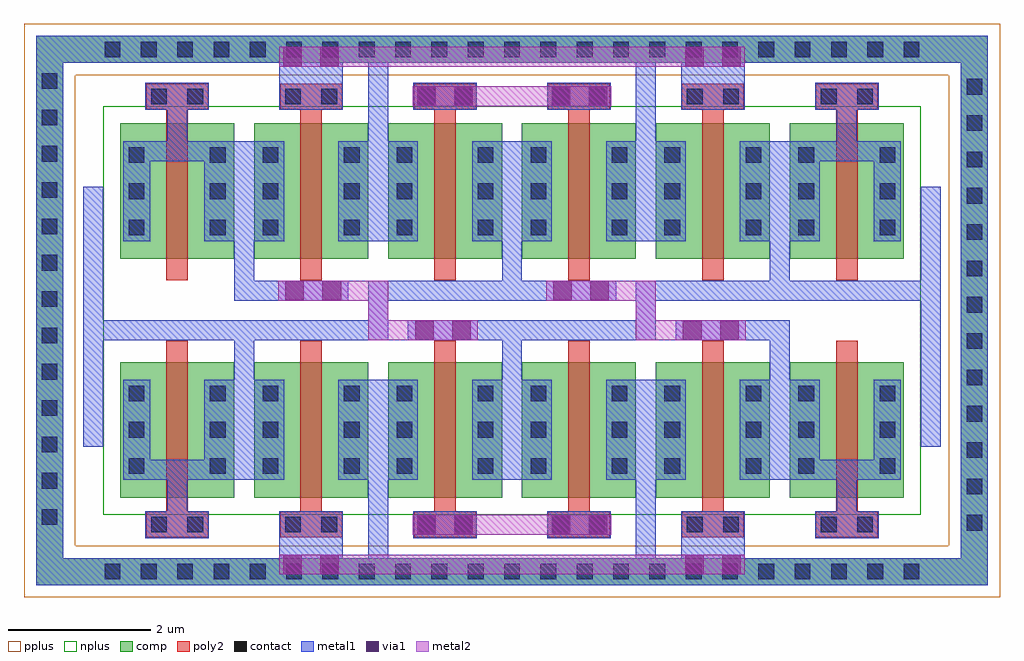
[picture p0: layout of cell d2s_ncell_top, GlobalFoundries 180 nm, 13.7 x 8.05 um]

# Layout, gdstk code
import gdstk
lib = gdstk.Library(unit=1e-6, precision=5e-09)
def R(c, l, rs):  # rectangles x0, y0, x1, y1
    for r in rs: c.add(gdstk.rectangle(r[:2], r[2:], *l))
def A(c, l, x, y, w, h, nx, ny, dx, dy):  # array of equal rectangles
    R(c, l, [(x+i*dx, y+j*dy, x+i*dx+w, y+j*dy+h) for i in range(nx) for j in range(ny)])
comp = (22, 0)
poly2 = (30, 0)
pplus = (31, 0)
nplus = (32, 0)
contact = (33, 0)
metal1 = (34, 0)
via1 = (35, 0)
metal2 = (36, 0)

d2s_ncell_1_1 = lib.new_cell('d2s_ncell_1$1')
R(d2s_ncell_1_1, comp, [(0,0.3,0.46,2.2), (0.46,0.3,1.14,2.2), (1.14,0.3,1.6,2.2)])
R(d2s_ncell_1_1, poly2, [(0.65,0,0.95,2.5)])
A(d2s_ncell_1_1, contact, 0.12, 0.63, 0.22, 0.22, 1, 3, 0, 0.51)
A(d2s_ncell_1_1, contact, 1.26, 0.63, 0.22, 0.22, 1, 3, 0, 0.51)
R(d2s_ncell_1_1, metal1, [(0.04,0.55,0.42,1.95), (1.18,0.55,1.56,1.95)])

d2s_ncell_4 = lib.new_cell('d2s_ncell_4')
A(d2s_ncell_4, poly2, 0.365, 2.4, 0.87, 0.36, 6, 1, 1.88, 0)
R(d2s_ncell_4, contact, [(0.435,2.47,0.655,2.69), (0.945,2.47,1.165,2.69), (2.315,2.47,2.535,2.69), (2.825,2.47,3.045,2.69), (4.195,2.47,4.415,2.69), (4.705,2.47,4.925,2.69), (6.075,2.47,6.295,2.69), (6.585,2.47,6.805,2.69), (7.955,2.47,8.175,2.69), (8.465,2.47,8.685,2.69), (9.835,2.47,10.055,2.69), (10.345,2.47,10.565,2.69)])
A(d2s_ncell_4, metal1, 1.56, 0.55, 0.36, 1.4, 5, 1, 1.88, 0)
R(d2s_ncell_4, metal1, [(0.355,2.39,1.245,2.77), (2.235,2.39,3.125,3.28), (4.115,2.39,5.005,2.77), (5.995,2.39,6.885,2.77), (7.875,2.39,8.765,3.28), (9.755,2.39,10.645,2.77)])
R(d2s_ncell_4, via1, [(4.17,2.45,4.43,2.71), (4.69,2.45,4.95,2.71), (6.055,2.45,6.315,2.71), (6.575,2.45,6.835,2.71), (2.29,3.01,2.55,3.27), (2.81,3.01,3.07,3.27), (7.93,3.01,8.19,3.27), (8.45,3.01,8.71,3.27)])
d2s_ncell_4.add(gdstk.FlexPath([(9.82,1.81),(10.58,1.81)], 0.28, ends="flush", simple_path=True, layer=34, datatype=0))  # metal1
d2s_ncell_4.add(gdstk.FlexPath([(10.2,2.39),(10.2,1.95)], 0.28, ends="flush", simple_path=True, layer=34, datatype=0))  # metal1
d2s_ncell_4.add(gdstk.FlexPath([(0.8,2.39),(0.8,1.95)], 0.28, ends="flush", simple_path=True, layer=34, datatype=0))  # metal1
d2s_ncell_4.add(gdstk.FlexPath([(0.42,1.81),(1.18,1.81)], 0.28, ends="flush", simple_path=True, layer=34, datatype=0))  # metal1
d2s_ncell_4.add(gdstk.FlexPath([(6.89,2.58),(4.11,2.58)], 0.28, ends="flush", simple_path=True, layer=36, datatype=0))  # metal2
d2s_ncell_4.add(gdstk.FlexPath([(8.77,3.14),(2.23,3.14)], 0.28, ends="flush", simple_path=True, layer=36, datatype=0))  # metal2
d2s_ncell_4.add(gdstk.Reference(d2s_ncell_1_1, (0,0)))
d2s_ncell_4.add(gdstk.Reference(d2s_ncell_1_1, (1.88,0)))
d2s_ncell_4.add(gdstk.Reference(d2s_ncell_1_1, (3.76,0)))
d2s_ncell_4.add(gdstk.Reference(d2s_ncell_1_1, (5.64,0)))
d2s_ncell_4.add(gdstk.Reference(d2s_ncell_1_1, (7.52,0)))
d2s_ncell_4.add(gdstk.Reference(d2s_ncell_1_1, (9.4,0)))

d2s_ncell_top = lib.new_cell('d2s_ncell_top')
R(d2s_ncell_top, nplus, [(5.66,3.735,17.14,9.465)])
A(d2s_ncell_top, contact, 5.68, 2.825, 0.22, 0.22, 23, 2, 0.51, 7.33)
A(d2s_ncell_top, contact, 17.78, 3.51, 0.22, 0.22, 1, 13, 0, 0.51)
A(d2s_ncell_top, contact, 4.8, 3.59, 0.22, 0.22, 1, 13, 0, 0.51)
R(d2s_ncell_top, via1, [(10.04,6.19,10.3,6.45), (10.56,6.19,10.82,6.45), (13.8,6.19,14.06,6.45), (14.32,6.19,14.58,6.45), (8.22,6.75,8.48,7.01), (8.74,6.75,9,7.01), (11.98,6.75,12.24,7.01), (12.5,6.75,12.76,7.01)])
d2s_ncell_top.add(gdstk.FlexPath([(17.89,10.455),(17.89,2.935),(4.91,2.935),(4.91,10.265),(18.08,10.265)], 0.38, ends="flush", simple_path=True, layer=34, datatype=0))  # metal1
d2s_ncell_top.add(gdstk.FlexPath([(15.16,7.575),(15.16,7.02)], 0.28, ends="flush", simple_path=True, layer=34, datatype=0))  # metal1
d2s_ncell_top.add(gdstk.FlexPath([(11.4,7.575),(11.4,7.02)], 0.28, ends="flush", simple_path=True, layer=34, datatype=0))  # metal1
d2s_ncell_top.add(gdstk.FlexPath([(7.64,7.575),(7.64,7.02)], 0.28, ends="flush", simple_path=True, layer=34, datatype=0))  # metal1
d2s_ncell_top.add(gdstk.FlexPath([(10.92,6.88),(9.52,6.88),(9.52,6.32),(8.12,6.32)], 0.28, ends="flush", simple_path=True, layer=34, datatype=0))  # metal1
d2s_ncell_top.add(gdstk.FlexPath([(9.1,6.88),(8.12,6.88)], 0.28, ends="flush", simple_path=True, layer=34, datatype=0))  # metal1
d2s_ncell_top.add(gdstk.FlexPath([(10.92,6.32),(9.94,6.32)], 0.28, ends="flush", simple_path=True, layer=34, datatype=0))  # metal1
d2s_ncell_top.add(gdstk.FlexPath([(10.92,6.88),(11.88,6.88)], 0.28, ends="flush", simple_path=True, layer=34, datatype=0))  # metal1
d2s_ncell_top.add(gdstk.FlexPath([(10.92,6.32),(11.88,6.32)], 0.28, ends="flush", simple_path=True, layer=34, datatype=0))  # metal1
d2s_ncell_top.add(gdstk.FlexPath([(8.12,6.88),(7.5,6.88)], 0.28, ends="flush", simple_path=True, layer=34, datatype=0))  # metal1
d2s_ncell_top.add(gdstk.FlexPath([(8.12,6.32),(7.5,6.32)], 0.28, ends="flush", simple_path=True, layer=34, datatype=0))  # metal1
d2s_ncell_top.add(gdstk.FlexPath([(11.4,7.575),(11.4,7.02)], 0.28, ends="flush", simple_path=True, layer=34, datatype=0))  # metal1
d2s_ncell_top.add(gdstk.FlexPath([(14.68,6.88),(13.28,6.88),(13.28,6.32),(11.88,6.32)], 0.28, ends="flush", simple_path=True, layer=34, datatype=0))  # metal1
d2s_ncell_top.add(gdstk.FlexPath([(12.86,6.88),(11.88,6.88)], 0.28, ends="flush", simple_path=True, layer=34, datatype=0))  # metal1
d2s_ncell_top.add(gdstk.FlexPath([(14.68,6.32),(13.7,6.32)], 0.28, ends="flush", simple_path=True, layer=34, datatype=0))  # metal1
d2s_ncell_top.add(gdstk.FlexPath([(15.3,6.88),(14.68,6.88)], 0.28, ends="flush", simple_path=True, layer=34, datatype=0))  # metal1
d2s_ncell_top.add(gdstk.FlexPath([(15.3,6.32),(14.68,6.32)], 0.28, ends="flush", simple_path=True, layer=34, datatype=0))  # metal1
d2s_ncell_top.add(gdstk.FlexPath([(15.16,6.18),(15.16,5.625)], 0.28, ends="flush", simple_path=True, layer=34, datatype=0))  # metal1
d2s_ncell_top.add(gdstk.FlexPath([(11.4,6.18),(11.4,5.625)], 0.28, ends="flush", simple_path=True, layer=34, datatype=0))  # metal1
d2s_ncell_top.add(gdstk.FlexPath([(7.64,6.18),(7.64,5.625)], 0.28, ends="flush", simple_path=True, layer=34, datatype=0))  # metal1
d2s_ncell_top.add(gdstk.FlexPath([(11.4,6.18),(11.4,5.625)], 0.28, ends="flush", simple_path=True, layer=34, datatype=0))  # metal1
d2s_ncell_top.add(gdstk.FlexPath([(15.3,6.88),(17.14,6.88)], 0.28, ends="flush", simple_path=True, layer=34, datatype=0))  # metal1
d2s_ncell_top.add(gdstk.FlexPath([(5.66,6.32),(7.5,6.32)], 0.28, ends="flush", simple_path=True, layer=34, datatype=0))  # metal1
d2s_ncell_top.add(gdstk.FlexPath([(17.28,8.335),(17.28,4.685)], 0.28, ends="flush", simple_path=True, layer=34, datatype=0))  # metal1
d2s_ncell_top.add(gdstk.FlexPath([(5.52,8.335),(5.52,4.685)], 0.28, ends="flush", simple_path=True, layer=34, datatype=0))  # metal1
d2s_ncell_top.add(gdstk.FlexPath([(13.28,8.975),(13.28,10.075)], 0.28, ends="flush", simple_path=True, layer=34, datatype=0))  # metal1
d2s_ncell_top.add(gdstk.FlexPath([(9.52,8.975),(9.52,10.075)], 0.28, ends="flush", simple_path=True, layer=34, datatype=0))  # metal1
d2s_ncell_top.add(gdstk.FlexPath([(13.28,3.125),(13.28,4.225)], 0.28, ends="flush", simple_path=True, layer=34, datatype=0))  # metal1
d2s_ncell_top.add(gdstk.FlexPath([(9.52,3.125),(9.52,4.225)], 0.28, ends="flush", simple_path=True, layer=34, datatype=0))  # metal1
d2s_ncell_top.add(gdstk.FlexPath([(17.84,8.335),(17.84,4.685)], 0.28, ends="flush", simple_path=True, layer=34, datatype=0))  # metal1
d2s_ncell_top.add(gdstk.FlexPath([(17.89,10.455),(17.89,2.935),(4.91,2.935),(4.91,10.265),(18.08,10.265)], 0.38, ends="flush", simple_path=True, layer=22, datatype=0))  # comp
d2s_ncell_top.add(gdstk.FlexPath([(14.68,6.32),(13.28,6.32),(13.28,6.88),(11.88,6.88)], 0.28, ends="flush", simple_path=True, layer=36, datatype=0))  # metal2
d2s_ncell_top.add(gdstk.FlexPath([(10.92,6.32),(9.52,6.32),(9.52,6.88),(8.12,6.88)], 0.28, ends="flush", simple_path=True, layer=36, datatype=0))  # metal2
d2s_ncell_top.add(gdstk.FlexPath([(17.89,10.625),(17.89,2.935),(4.91,2.935),(4.91,10.265),(18.25,10.265)], 0.72, ends="flush", simple_path=True, layer=31, datatype=0))  # pplus
d2s_ncell_top.add(gdstk.Reference(d2s_ncell_4, (5.9,7.025)))
d2s_ncell_top.add(gdstk.Reference(d2s_ncell_4, (5.9,6.175), x_reflection=True))

lib.write_gds('d2s_ncell_top.gds')
